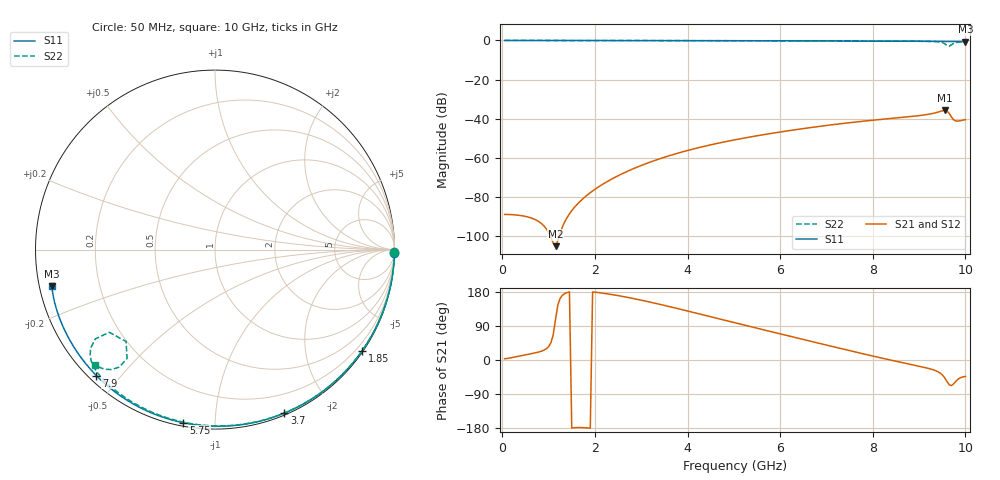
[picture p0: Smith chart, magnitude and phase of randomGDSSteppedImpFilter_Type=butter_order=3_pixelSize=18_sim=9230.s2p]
! freq	dB(S11)	phase(S11)	dB(S12)	phase(S12)
!  dB(S21)	phase(S21)	dB(S22)	phase(S22)
!S-par simulation data
#  GHz  S  DB  R 50
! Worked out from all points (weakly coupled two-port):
!   200 points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, 50 MHz to 10 GHz, reference 50 ohm
!   highest |S21| = -35.79 dB at 9.55 GHz (marker M1); lowest = -105.3 dB at 1.15 GHz (marker M2)
!   lowest |S11| = -0.6 dB at 10 GHz (marker M3), VSWR 27.68, Z = 1.83 - j5.51 ohm
!   |S11| at or under -10 dB: nowhere
!   |S22| runs from -2.9 to 0.0 dB; largest |S21 - S12| = 0
!   S11 on the Smith chart (normalised r, x): 50 MHz: open; 1.85 GHz: 0.03, -3.22; 3.7 GHz: 0.02, -1.51; 5.75 GHz: 0.02, -0.83; 7.9 GHz: 0.02, -0.43; 10 GHz: 0.04, -0.11
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0.05  -0.00 -1.0  -89.03 3.4  -89.03 3.4  -0.00 -0.8
1.15  -0.03 -21.6  -105.29 107.2  -105.29 107.2  -0.02 -18.5
1.75  -0.04 -32.7  -80.80 -178.5  -80.80 -178.5  -0.04 -27.9
1.85  -0.04 -34.5  -78.82 -179.3  -78.82 -179.3  -0.04 -29.5
2.15  -0.05 -39.9  -73.85 176.7  -73.85 176.7  -0.04 -34.2
2.5  -0.06 -46.2  -69.24 169.9  -69.24 169.9  -0.05 -39.6
3.4  -0.08 -61.9  -60.55 146.9  -60.55 146.9  -0.07 -53.1
3.7  -0.09 -67.0  -58.31 138.3  -58.31 138.3  -0.08 -57.6
5.05  -0.14 -89.3  -50.72 97.4  -50.72 97.4  -0.12 -76.9
5.75  -0.17 -100.4  -47.80 76.4  -47.80 76.4  -0.15 -86.5
6.7  -0.23 -115.0  -44.45 48.2  -44.45 48.2  -0.19 -99.1
7.9  -0.32 -133.3  -41.07 13.3  -41.07 13.3  -0.27 -114.7
8.35  -0.36 -140.1  -40.02 0.8  -40.02 0.8  -0.31 -120.6
9.25  -0.46 -154.2  -37.59 -23.8  -37.59 -23.8  -0.48 -134.2
9.4  -0.48 -156.6  -36.74 -30.5  -36.74 -30.5  -0.65 -138.0
9.55  -0.50 -159.1  -35.79 -46.4  -35.79 -46.4  -1.60 -143.3
9.6  -0.51 -159.9  -36.07 -56.3  -36.07 -56.3  -2.53 -141.9
9.65  -0.52 -160.8  -37.33 -65.4  -37.33 -65.4  -2.94 -134.0
9.7  -0.53 -161.6  -39.23 -67.6  -39.23 -67.6  -2.16 -128.9
9.75  -0.54 -162.5  -40.69 -62.5  -40.69 -62.5  -1.46 -129.2
9.8  -0.55 -163.4  -41.25 -55.3  -41.25 -55.3  -1.09 -130.8
10  -0.63 -167.4  -40.51 -43.4  -40.51 -43.4  -0.66 -136.1
